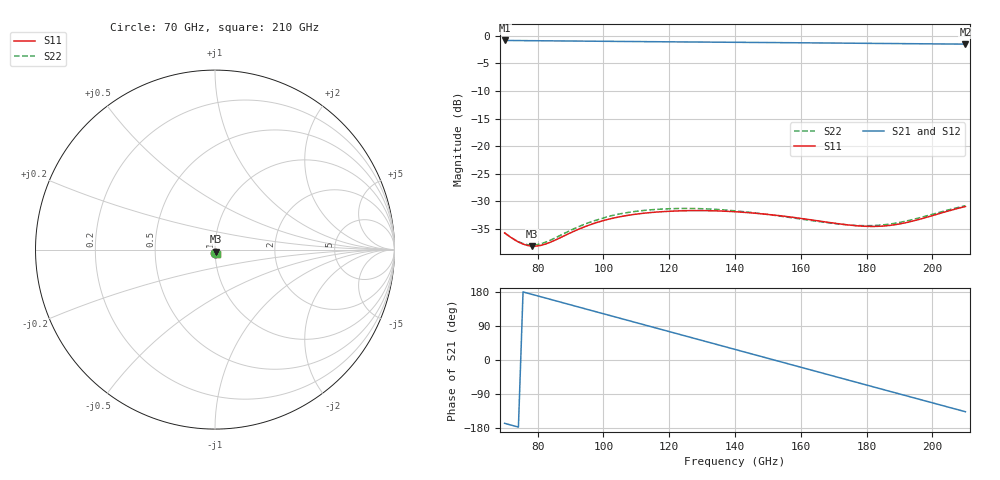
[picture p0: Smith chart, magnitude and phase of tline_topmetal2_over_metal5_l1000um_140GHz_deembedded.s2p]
! Created with skrf 2.2.0 (http://scikit-rf.org).
# GHz S DB R 50.0
! Port[1] = P1
! Port[2] = P2
!freq dBS11 angS11 dBS21 angS21 dBS12 angS12 dBS22 angS22
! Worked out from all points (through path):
!   101 points, 70 GHz to 210 GHz, reference 50 ohm
!   highest |S21| = -0.81 dB at 70 GHz (marker M1); lowest = -1.5 dB at 210 GHz (marker M2)
!   group delay of S21, straight-line fit = 6.54 ps
!   lowest |S11| = -38.2 dB at 78.4 GHz (marker M3), VSWR 1.02, Z = 50.4 - j1.17 ohm
!   |S11| at or under -10 dB: start of sweep to end of sweep
!   |S22| runs from -38.0 to -30.8 dB; largest |S21 - S12| = 1e-13
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70  -35.79 -92.1  -0.81 -167.2  -0.81 -167.2  -35.79 -91.4
74.2  -37.44 -83.3  -0.84 -177.1  -0.84 -177.1  -37.38 -82.0
78.4  -38.19 -70.0  -0.86 173.0  -0.86 173.0  -38.00 -68.4
85.4  -37.09 -51.7  -0.89 156.5  -0.89 156.5  -36.69 -50.9
93.8  -34.79 -46.3  -0.94 136.7  -0.94 136.7  -34.32 -46.6
100.8  -33.42 -49.0  -0.97 120.2  -0.97 120.2  -32.93 -49.7
106.4  -32.70 -52.8  -1.00 107.0  -1.00 107.0  -32.18 -54.3
112  -32.23 -56.9  -1.03 93.8  -1.03 93.8  -31.72 -59.0
117.6  -31.94 -61.1  -1.05 80.7  -1.05 80.7  -31.46 -63.7
123.2  -31.78 -65.1  -1.08 67.5  -1.08 67.5  -31.35 -68.2
128.8  -31.73 -69.0  -1.10 54.3  -1.10 54.3  -31.37 -72.5
140  -31.94 -75.9  -1.15 28.0  -1.15 28.0  -31.77 -79.7
145.6  -32.18 -78.7  -1.17 14.8  -1.17 14.8  -32.12 -82.4
151.2  -32.50 -81.0  -1.20 1.6  -1.20 1.6  -32.54 -84.2
156.8  -32.89 -82.5  -1.22 -11.6  -1.22 -11.6  -32.99 -85.1
163.8  -33.47 -83.2  -1.26 -28.0  -1.26 -28.0  -33.58 -84.8
176.4  -34.46 -78.7  -1.32 -57.7  -1.32 -57.7  -34.41 -79.0
182  -34.61 -74.2  -1.35 -70.8  -1.35 -70.8  -34.45 -74.4
187.6  -34.38 -68.9  -1.37 -84.0  -1.37 -84.0  -34.13 -69.6
193.2  -33.75 -64.6  -1.40 -97.1  -1.40 -97.1  -33.47 -65.9
198.8  -32.85 -62.3  -1.43 -110.3  -1.43 -110.3  -32.60 -64.2
210  -30.98 -65.0  -1.48 -136.5  -1.48 -136.5  -30.85 -67.3
